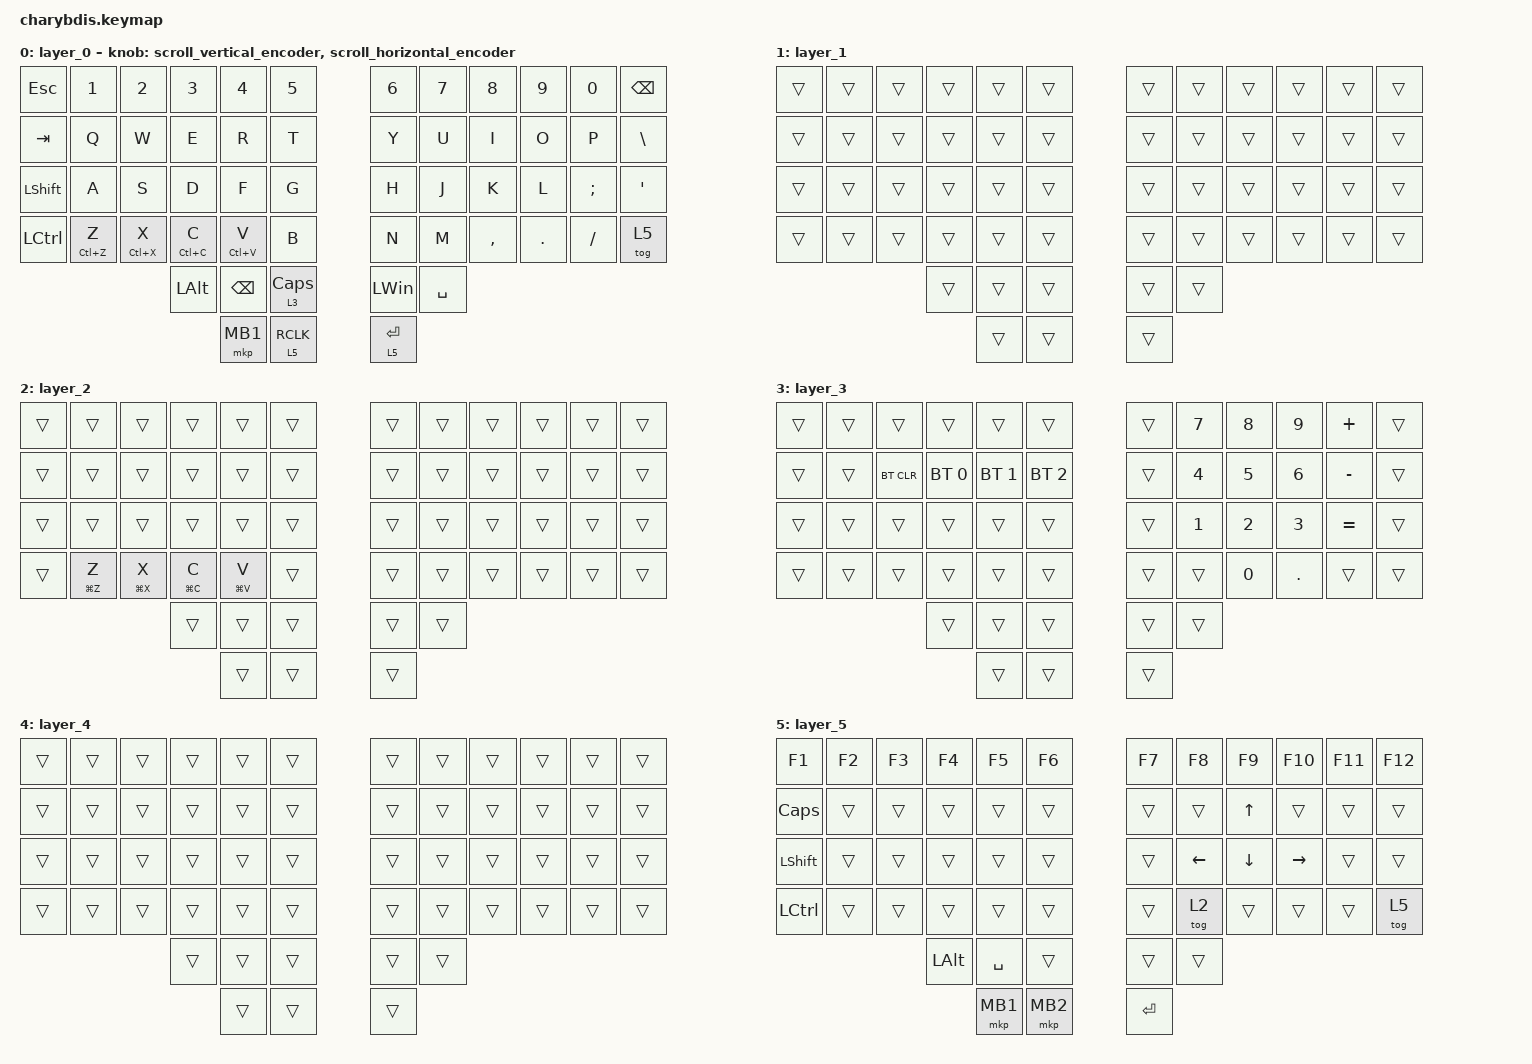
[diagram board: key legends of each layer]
#include <dt-bindings/zmk/mouse.h>
#include <input/processors.dtsi>
#include <zephyr/dt-bindings/input/input-event-codes.h>
#include <behaviors.dtsi>
#include <dt-bindings/zmk/bt.h>
#include <dt-bindings/zmk/keys.h>
#include <dt-bindings/zmk/pointing.h>

#define ZMK_POINTING_DEFAULT_MOVE_VAL 1000 // 600
#define ZMK_POINTING_DEFAULT_SCRL_VAL 12   // 10

&lt {
    tapping-term-ms = <200>;
    flavor = "balanced";
    quick-tap-ms = <150>;
};

&mt {
    tapping-term-ms = <180>;
    flavor = "balanced";
    quick-tap-ms = <150>;
    hold-trigger-on-release;
};

&mmv_input_listener { input-processors = <&zip_xy_scaler 2 1>; };

&msc_input_listener { input-processors = <&zip_scroll_scaler 2 1>; };

&msc {
    acceleration-exponent = <0>;      // 0
    time-to-max-speed-ms = <100>;       // 300
    delay-ms = <0>;                   // 0
};

&mmv {
    time-to-max-speed-ms = <500>;
    acceleration-exponent = <1>;
    trigger-period-ms = <16>;
};

/ {
    // 上下滚动编码器行为

    scroll_vertical_encoder: scroll_vertical_encoder {
        compatible = "zmk,behavior-sensor-rotate";
        #sensor-binding-cells = <0>;
        bindings = <&msc SCRL_DOWN>, <&msc SCRL_UP>;

        tap-ms = <100>;
    };

    // 左右滚动编码器行为

    scroll_horizontal_encoder: scroll_horizontal_encoder {
        compatible = "zmk,behavior-sensor-rotate";
        #sensor-binding-cells = <0>;
        bindings = <&msc SCRL_LEFT>, <&msc SCRL_RIGHT>;

        tap-ms = <100>;
    };

    behaviors {
        rclick_or_scroll: rclick_or_scroll {
            compatible = "zmk,behavior-hold-tap";
            label = "RCLICK_OR_SCROLL";
            #binding-cells = <2>;
            tapping-term-ms = <200>;
            flavor = "balanced";
            bindings = <&mo>, <&mkp>;
        };
    };

    combos {
        compatible = "zmk,combos";

        combo_lang_toggle_win {
            timeout-ms = <50>;
            require-prior-idle-ms = <150>;
            key-positions = <31 33>; // J, L (home row, K in between)
            bindings = <&kp LANG1>;  // Windows: 한/영 전환
            layers = <0>;
        };

        combo_lang_toggle_mac {
            timeout-ms = <50>;
            require-prior-idle-ms = <150>;
            key-positions = <31 33>; // J, L
            bindings = <&kp LC(SPACE)>; // macOS 기본: 이전 입력 소스 선택 (Control+Space)
            layers = <2>;                // Fn+M(&tog 2)로 Mac 모드 켰을 때만 적용
        };

        combo_screenshot_win {
            timeout-ms = <50>;
            require-prior-idle-ms = <150>;
            key-positions = <13 14>; // Q, W
            bindings = <&kp LG(LS(S))>; // Windows: Win+Shift+S (캡처 도구)
            layers = <0>;
        };

        combo_screenshot_mac {
            timeout-ms = <50>;
            require-prior-idle-ms = <150>;
            key-positions = <13 14>; // Q, W
            bindings = <&kp LG(LS(N4))>; // macOS: Cmd+Shift+4 (영역 스크린샷)
            layers = <2>;
        };
    };

    keymap {
        compatible = "zmk,keymap";

        layer_0 {
            bindings = <
&kp ESC         &kp N1       &kp N2       &kp N3        &kp N4         &kp N5                      &kp N6        &kp N7     &kp N8     &kp N9      &kp N0    &kp BACKSPACE
&kp TAB         &kp Q        &kp W        &kp E         &kp R          &kp T                       &kp Y         &kp U      &kp I      &kp O       &kp P     &kp BSLH
&kp LEFT_SHIFT  &kp A        &kp S        &kp D         &kp F          &kp G                       &kp H         &kp J      &kp K      &kp L       &kp SEMI  &kp SQT
&kp LCTRL       &mt LC(Z) Z  &mt LC(X) X  &mt LC(C) C   &mt LC(V) V    &kp B                       &kp N         &kp M      &kp COMMA  &kp PERIOD  &kp FSLH  &tog 5
                                          &kp LEFT_ALT  &kp BACKSPACE  &lt 3 CAPSLOCK              &kp LWIN      &kp SPACE
                                                        &mkp MB1       &rclick_or_scroll 5 RCLK    &lt 5 RETURN
            >;

            sensor-bindings =
                <&scroll_vertical_encoder>,
                // 编码器1：上下滚动,,,,,,
                <&scroll_horizontal_encoder>;

            // 编码器2：左右滚动
        };

        // 비어 있음. Fn 레이어는 스크롤 판정(최상위 활성 레이어 비교) 때문에
        // Mac 모드(2)보다 위여야 해서 layer_5로 옮겼다. 레이어 번호는 정의 순서로
        // 정해지므로 2·3·4 번호를 유지하려면 이 자리를 비워둔 채 남겨야 한다.
        layer_1 {
            bindings = <
&trans  &trans  &trans  &trans  &trans  &trans    &trans  &trans  &trans  &trans  &trans  &trans
&trans  &trans  &trans  &trans  &trans  &trans    &trans  &trans  &trans  &trans  &trans  &trans
&trans  &trans  &trans  &trans  &trans  &trans    &trans  &trans  &trans  &trans  &trans  &trans
&trans  &trans  &trans  &trans  &trans  &trans    &trans  &trans  &trans  &trans  &trans  &trans
                        &trans  &trans  &trans    &trans  &trans
                                &trans  &trans    &trans
            >;
        };

        layer_2 {
            bindings = <
&trans  &trans       &trans       &trans       &trans       &trans    &trans  &trans  &trans  &trans  &trans  &trans
&trans  &trans       &trans       &trans       &trans       &trans    &trans  &trans  &trans  &trans  &trans  &trans
&trans  &trans       &trans       &trans       &trans       &trans    &trans  &trans  &trans  &trans  &trans  &trans
&trans  &mt LG(Z) Z  &mt LG(X) X  &mt LG(C) C  &mt LG(V) V  &trans    &trans  &trans  &trans  &trans  &trans  &trans
                                  &trans       &trans       &trans    &trans  &trans
                                               &trans       &trans    &trans
            >;
        };

        layer_3 {
            bindings = <
&trans  &trans  &trans      &trans        &trans        &trans          &trans  &kp N7        &kp N8        &kp N9        &kp PLUS   &trans
&trans  &trans  &bt BT_CLR  &bt BT_SEL 0  &bt BT_SEL 1  &bt BT_SEL 2    &trans  &kp NUMBER_4  &kp N5        &kp NUMBER_6  &kp MINUS  &trans
&trans  &trans  &trans      &trans        &trans        &trans          &trans  &kp NUMBER_1  &kp NUMBER_2  &kp NUMBER_3  &kp EQUAL  &trans
&trans  &trans  &trans      &trans        &trans        &trans          &trans  &trans        &kp N0        &kp PERIOD    &trans  &trans
                            &trans        &trans        &trans          &trans  &trans
                                          &trans        &trans          &trans
            >;
        };

        layer_4 {
            bindings = <
&trans  &trans  &trans  &trans  &trans  &trans    &trans  &trans  &trans  &trans  &trans  &trans
&trans  &trans  &trans  &trans  &trans  &trans    &trans  &trans  &trans  &trans  &trans  &trans
&trans  &trans  &trans  &trans  &trans  &trans    &trans  &trans  &trans  &trans  &trans  &trans
&trans  &trans  &trans  &trans  &trans  &trans    &trans  &trans  &trans  &trans  &trans  &trans
                        &trans  &trans  &trans    &trans  &trans
                                &trans  &trans    &trans
            >;
        };

        // Fn 레이어 겸 트랙볼 스크롤 레이어.
        // 드라이버가 scroll-layers를 "최상위 활성 레이어"와 비교하므로,
        // Mac 모드(2)에 가려지지 않도록 그보다 높은 번호를 쓴다.
        layer_5 {
            bindings = <
&kp F1          &kp F2  &kp F3  &kp F4        &kp F5     &kp F6      &kp F7     &kp F8    &kp F9    &kp F10    &kp F11  &kp F12
&kp CAPS        &trans  &trans  &trans        &trans     &trans      &trans     &trans    &kp UP    &trans     &trans   &trans
&kp LEFT_SHIFT  &trans  &trans  &trans        &trans     &trans      &trans     &kp LEFT  &kp DOWN  &kp RIGHT  &trans   &trans
&kp LCTRL       &trans  &trans  &trans        &trans     &trans      &trans     &tog 2    &trans    &trans     &trans   &tog 5
                                &kp LEFT_ALT  &kp SPACE  &trans      &trans     &trans
                                              &mkp MB1   &mkp MB2    &kp ENTER
            >;
        };

        /* layer_2 {
            bindings = <
&none  &none   &none    &none   &none         &none         &kp N1         &none         &none     &none  &none   &to 0
&none  &none   &none    &none   &none         &none         &none         &none          &rgb_ug RGB_BRD &rgb_ug RGB_BRI  &rgb_ug RGB_EFF   &rgb_ug RGB_TOG
&none  &none   &none    &none   &none         &none         &none         &mkp LCLK     &mkp RCLK  &none  &none   &none
&none  &none   &none    &none   &bt BT_NXT  &bt BT_CLR    &none         &none         &none     &none  &none   &none
                                   &none         &none         &none         &none         &none
                                                 &none         &none         &none
            >;
       
            
        };

       Mouse {
            bindings = <
&none        &none         &none         &none         &none      &none         &none       &none      &none         &none         &none         &none
&none        &bt BT_SEL 0  &bt BT_SEL 1  &bt BT_SEL 3  &none      &bt BT_CLR    &bt BT_CLR  &none      &bt BT_SEL 2  &bt BT_SEL 1  &bt BT_SEL 0  &none
&none        &trans        &trans        &mkp MCLK     &trans     &none         &none       &trans     &mkp MCLK     &trans        &trans        &none
&bootloader  &trans        &mkp RCLK     &mo 4         &mkp LCLK  &mo 5         &mo 5       &mkp LCLK  &mo 4         &mkp RCLK     &trans        &bootloader
                                         &mo 5         &mkp LCLK  &mkp RCLK     &mkp RCLK   &mkp LCLK
                                                       &none      &trans        &trans
            >;

            
        };

        layer_4 {
            bindings = <
&trans  &trans  &trans     &trans     &trans     &trans       &trans     &trans     &trans     &trans     &trans  &trans
&trans  &trans  &trans     &trans     &trans     &trans       &trans     &trans     &trans     &trans     &trans  &trans
&trans  &trans  &trans     &mkp MCLK  &trans     &trans       &trans     &trans     &mkp MCLK  &trans     &trans  &trans
&trans  &trans  &mkp RCLK  &trans     &mkp LCLK  &trans       &trans     &mkp LCLK  &trans     &mkp RCLK  &trans  &trans
                           &trans     &mkp LCLK  &mkp RCLK    &mkp RCLK  &mkp LCLK
                                      &trans     &trans       &trans
            >;
                
                
               
        };

        layer_5 {
            bindings = <
&trans  &trans  &trans     &trans     &trans     &trans       &trans     &trans     &trans     &trans     &trans  &trans
&trans  &trans  &trans     &trans     &trans     &trans       &trans     &trans     &trans     &trans     &trans  &trans
&trans  &trans  &trans     &mkp MCLK  &trans     &trans       &trans     &trans     &mkp MCLK  &trans     &trans  &trans
&trans  &trans  &mkp RCLK  &trans     &mkp LCLK  &trans       &trans     &mkp LCLK  &trans     &mkp RCLK  &trans  &trans
                           &trans     &mkp LCLK  &mkp RCLK    &mkp RCLK  &mkp LCLK
                                      &trans     &trans       &trans
            >;
                
                
        };*/
    };
};
